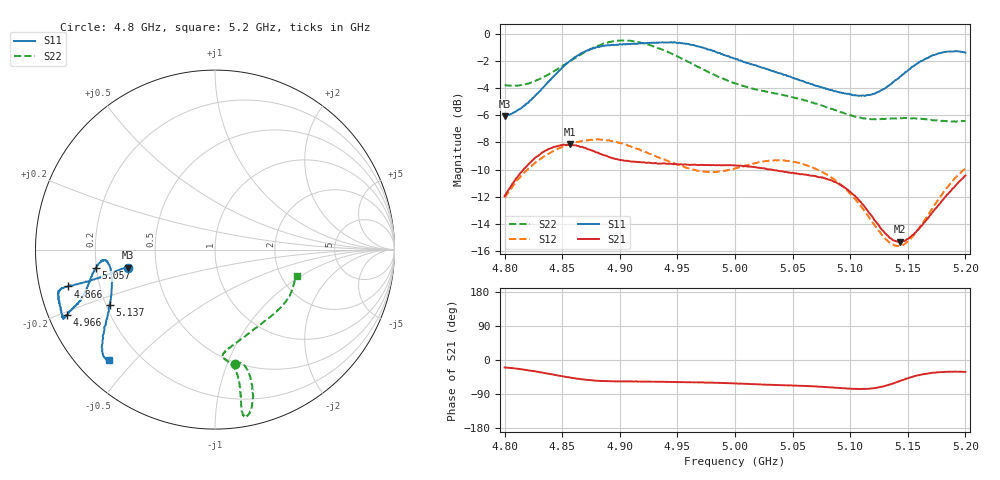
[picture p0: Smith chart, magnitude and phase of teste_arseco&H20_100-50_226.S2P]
! Network Analyzer HP8722D
! Hewlett-Packard
! Data name: Linha & Wilkinson
! Saver's name: Rodrigo Anjos
! Comments: Teste da utilização de aquisição
! continua pelo VNA HP8722D
! Time and date: 6/5/2025 14:27
!  Frequency  S11  S21  S12  S22
# HZ  S  MA R 50
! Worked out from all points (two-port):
!   401 points, 4.8 GHz to 5.2 GHz, reference 50 ohm
!   highest |S21| = -8.15 dB at 4.857 GHz (marker M1); lowest = -15.3 dB at 5.143 GHz (marker M2)
!   |S21| within 3 dB of the highest: 4.806 GHz to 5.092 GHz (286 MHz wide, 5.78 % of centre); 5.191763 GHz to end of sweep
!   lowest |S11| = -6.1 dB at 4.8 GHz (marker M3), VSWR 2.98, Z = 17 - j4.56 ohm
!   |S11| at or under -10 dB: nowhere
!   |S22| runs from -6.5 to -0.5 dB; largest |S21 - S12| = 0.62
!   S11 on the Smith chart (normalised r, x): 4.8 GHz: 0.34, -0.09; 4.866 GHz: 0.09, -0.12; 4.966 GHz: 0.05, -0.21; 5.057 GHz: 0.20, -0.07; 5.137 GHz: 0.21, -0.23; 5.2 GHz: 0.09, -0.42
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4.8e9  0.4969 -168.2  0.2527 -19.8  0.2494 -140.9  0.6473 -80.3
4.828e9  0.6008 -167.2  0.3535 -30.7  0.3386 -145.0  0.6753 -75.4
4.857e9  0.7957 -166.0  0.3912 -46.5  0.3928 -150.4  0.7938 -74.8
4.866e9  0.8451 -166.0  0.3831 -50.4  0.4014 -152.0  0.8368 -75.4
4.867e9  0.8502 -165.8  0.3838 -51.0  0.4027 -152.1  0.8436 -75.4
4.883e9  0.8961 -165.1  0.3612 -55.2  0.4075 -154.8  0.909 -77.1
4.9e9  0.9152 -162.6  0.3431 -56.3  0.396 -156.6  0.9421 -79.2
4.934e9  0.9289 -156.6  0.3324 -57.5  0.3509 -155.8  0.8821 -80.5
4.966e9  0.9021 -156.2  0.3292 -58.8  0.314 -148.4  0.7621 -79.6
5e9  0.8098 -159.0  0.3273 -61.9  0.3195 -137.3  0.6566 -81.3
5.033e9  0.7289 -164.9  0.3154 -65.8  0.3416 -134.4  0.6049 -85.5
5.057e9  0.6719 -171.1  0.3038 -68.1  0.333 -136.0  0.5752 -84.8
5.067e9  0.6516 -173.2  0.3006 -69.3  0.3228 -136.8  0.5585 -82.6
5.087e9  0.6152 -174.5  0.2844 -73.2  0.2887 -138.6  0.5241 -74.7
5.103e9  0.5939 -171.7  0.2551 -76.2  0.2496 -138.7  0.4971 -65.2
5.117e9  0.5953 -164.9  0.2176 -75.5  0.2088 -135.0  0.4855 -55.2
5.134e9  0.6464 -154.3  0.1774 -65.2  0.1706 -120.6  0.4868 -43.3
5.137e9  0.6625 -152.5  0.174 -62.2  0.1677 -116.8  0.4881 -41.4
5.143e9  0.6934 -149.4  0.1715 -55.6  0.1658 -108.9  0.4886 -38.1
5.154e9  0.7574 -144.6  0.1817 -44.6  0.1791 -95.0  0.4875 -32.3
5.173e9  0.8348 -138.9  0.2244 -33.3  0.2336 -80.9  0.4808 -24.2
5.2e9  0.8525 -133.7  0.3006 -31.5  0.3188 -76.9  0.4776 -17.6
